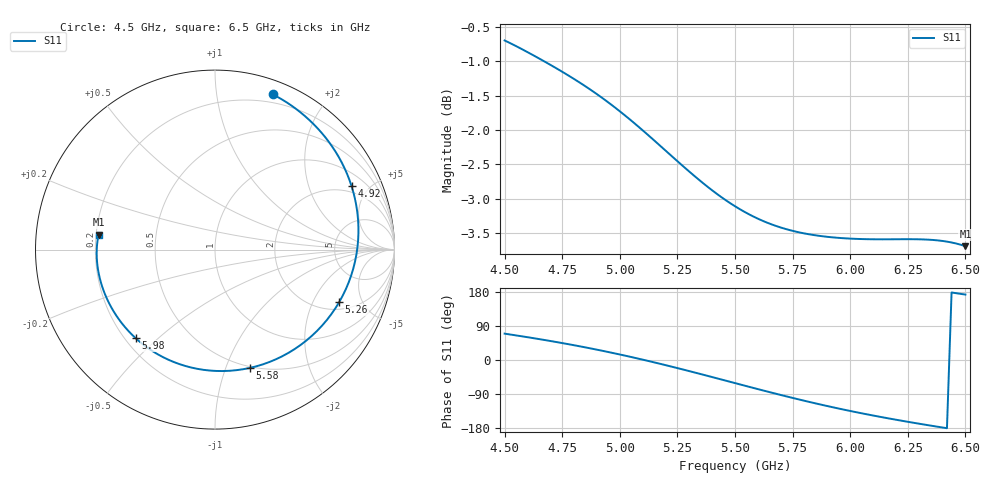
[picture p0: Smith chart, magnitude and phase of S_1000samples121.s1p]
! TOUCHSTONE file generated by CST MICROWAVE STUDIO
! Date and time: Thu Oct 27 01:51:28 2022
! Project name: L.cst
! Parameters = {Di=1.27; Epsilon_r=1.56; InnerDiameter=1.27; Length=2; Lf=10; Lg=60; OuterConductorThickness=0.2921; OuterDiameter=3.6; Wf=3; Wp=41.2; de=1.5; df=6.8; g=0.8; gx=1.91664; gy=0.896976; h=2.34; hf=1.524; px=9.46025; py=8.37609; w=9.7; wx=7.54361; wy=7.47912}
! Header version: 2018
! Port assignment regex: !\s*Touchstone port\s*([0-9]+)\s*=\s*(CST MWS port|CST DS port)\s*([0-9]+|Zmin|Zmax)\s*\(\"(.*)\"\)(\s*mode\s*([0-9]+))?.*
! Touchstone port assignment:
! Touchstone port 1 = CST MWS port 1 ("")
# GHz S DB R 50
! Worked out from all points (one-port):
!   101 points, 4.5 GHz to 6.5 GHz, reference 50 ohm
!   lowest |S11| = -3.7 dB at 6.5 GHz (marker M1), VSWR 4.78, Z = 10.5 + j3.07 ohm
!   |S11| at or under -10 dB: nowhere
!   S11 on the Smith chart (normalised r, x): 4.5 GHz: 0.12, +1.43; 4.92 GHz: 1.63, +3.89; 5.26 GHz: 2.42, -3.24; 5.58 GHz: 0.49, -1.21; 5.98 GHz: 0.24, -0.42; 6.5 GHz: 0.21, +0.06
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4.5  -0.70 69.6
4.56  -0.80 63.9
4.64  -0.94 56.1
4.76  -1.17 43.6
4.84  -1.34 34.5
4.92  -1.53 24.9
5  -1.73 14.6
5.08  -1.95 3.6
5.14  -2.13 -4.9
5.2  -2.30 -13.8
5.26  -2.48 -22.9
5.32  -2.66 -32.2
5.38  -2.82 -41.7
5.44  -2.98 -51.3
5.5  -3.11 -60.9
5.58  -3.26 -73.7
5.66  -3.38 -86.3
5.76  -3.48 -101.5
5.82  -3.52 -110.3
5.88  -3.55 -118.7
5.98  -3.58 -131.9
6  -3.58 -134.5
6.06  -3.59 -141.8
6.12  -3.59 -148.9
6.18  -3.59 -155.6
6.26  -3.59 -164.1
6.38  -3.61 -176.1
6.5  -3.69 172.6
